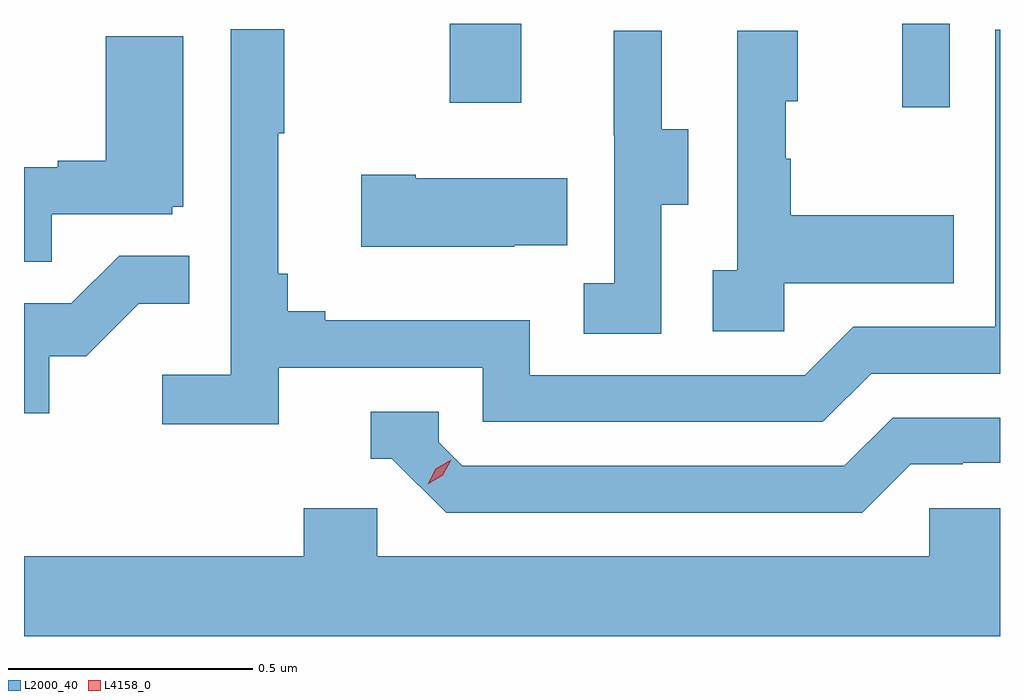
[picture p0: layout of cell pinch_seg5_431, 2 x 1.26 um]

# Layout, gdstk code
import gdstk
lib = gdstk.Library(unit=1e-6, precision=1e-09)
def R(c, l, rs):  # rectangles x0, y0, x1, y1
    for r in rs: c.add(gdstk.rectangle(r[:2], r[2:], *l))
def P(c, l, *ps):  # polygons
    for p in ps: c.add(gdstk.Polygon(p, *l))
L2000_40 = (2000, 40)
L4158_0 = (4158, 0)

pinch_seg5_431 = lib.new_cell('pinch_seg5_431')
R(pinch_seg5_431, L2000_40, [(958.85,864.504,958.947,864.675), (957.922,864.513,958.069,864.675)])
P(pinch_seg5_431, L2000_40, [(957.572,863.97),(957.99,863.97),(957.99,863.859),(958.687,863.859),(958.786,863.958),(959.05,863.958),(959.05,864.663),(959.04,864.663),(959.04,864.054),(958.749,864.054),(958.65,863.955),(958.086,863.955),(958.086,864.067),(957.667,864.067),(957.667,864.086),(957.59,864.086),(957.59,864.163),(957.571,864.163),(957.571,864.451),(957.583,864.451),(957.583,864.664),(957.474,864.664),(957.474,863.956),(957.333,863.956),(957.333,863.854),(957.572,863.854)],
  [(958.608,864.143),(958.955,864.143),(958.955,864.283),(958.621,864.283),(958.621,864.398),(958.611,864.398),(958.611,864.516),(958.636,864.516),(958.636,864.661),(958.512,864.661),(958.512,864.17),(958.461,864.17),(958.461,864.045),(958.608,864.045)],
  [(958.356,864.304),(958.411,864.304),(958.411,864.459),(958.357,864.459),(958.357,864.661),(958.259,864.661),(958.259,864.447),(958.26,864.447),(958.26,864.143),(958.197,864.143),(958.197,864.04),(958.356,864.04)],
  [(957.107,864.285),(957.354,864.285),(957.354,864.3),(957.376,864.3),(957.376,864.649),(957.218,864.649),(957.218,864.394),(957.119,864.394),(957.119,864.381),(957.05,864.381),(957.05,864.187),(957.107,864.187)],
  [(958.055,864.221),(958.163,864.221),(958.163,864.358),(957.853,864.358),(957.853,864.366),(957.741,864.366),(957.741,864.218),(958.055,864.218)],
  [(957.102,863.994),(957.178,863.994),(957.285,864.101),(957.389,864.101),(957.389,864.2),(957.245,864.2),(957.147,864.102),(957.05,864.102),(957.05,863.877),(957.102,863.877)],
  [(958.867,863.772),(958.974,863.772),(958.974,863.775),(959.05,863.775),(959.05,863.868),(958.83,863.868),(958.731,863.769),(957.948,863.769),(957.9,863.817),(957.9,863.88),(957.761,863.88),(957.761,863.784),(957.804,863.784),(957.915,863.673),(958.768,863.673)],
  [(959.05,863.682),(958.905,863.682),(958.905,863.584),(957.774,863.584),(957.774,863.682),(957.623,863.682),(957.623,863.584),(957.05,863.584),(957.05,863.42),(959.05,863.42)])
P(pinch_seg5_431, L4158_0, [(957.877,863.731),(957.877,863.731),(957.894,863.763),(957.925,863.782),(957.925,863.782),(957.925,863.782),(957.908,863.75),(957.877,863.731)])

lib.write_gds('pinch_seg5_431.gds')
